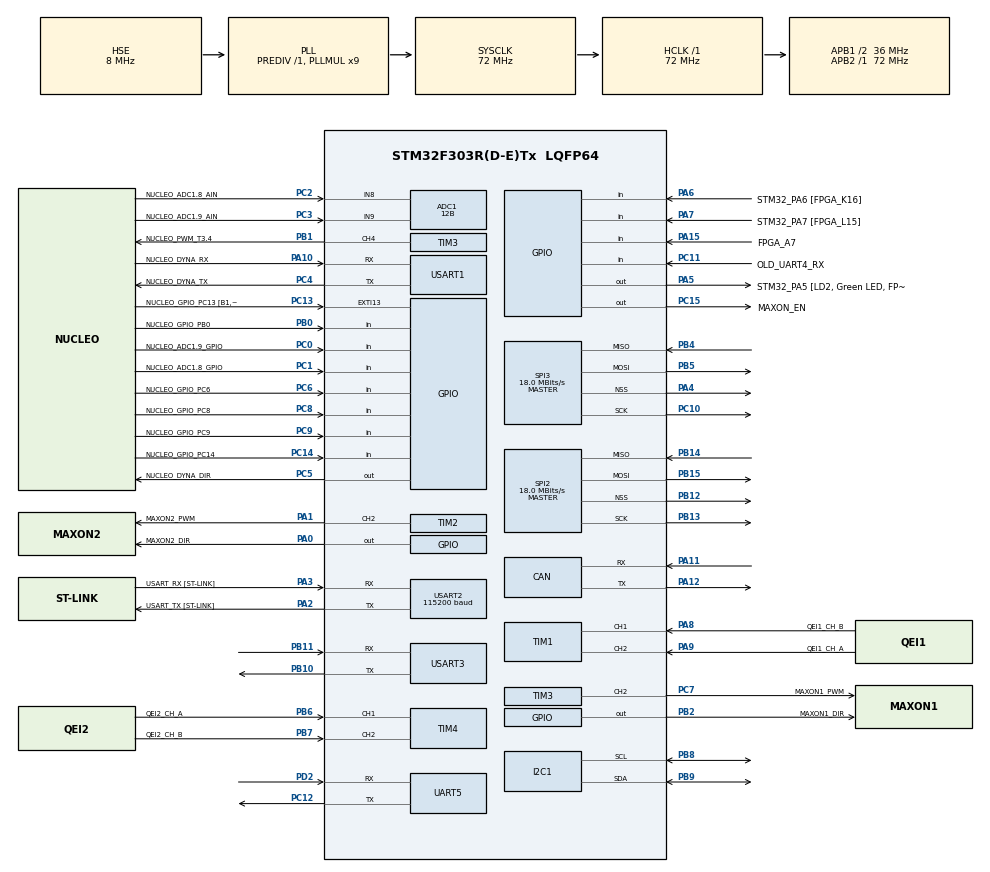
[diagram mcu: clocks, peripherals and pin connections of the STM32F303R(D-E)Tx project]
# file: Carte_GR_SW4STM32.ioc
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ADC1.Channel-0\#ChannelRegularConversion=ADC_CHANNEL_8
ADC1.ClockPrescaler=ADC_CLOCK_ASYNC_DIV1
ADC1.ContinuousConvMode=DISABLE
ADC1.DMAContinuousRequests=DISABLE
ADC1.DataAlign=ADC_DATAALIGN_RIGHT
ADC1.DiscontinuousConvMode=DISABLE
ADC1.EOCSelection=ADC_EOC_SINGLE_CONV
ADC1.EnableAnalogWatchDog1=false
ADC1.EnableAnalogWatchDog2=false
ADC1.EnableAnalogWatchDog3=false
ADC1.EnableInjectedConversion=ENABLE
ADC1.EnableRegularConversion=ENABLE
ADC1.ExternalTrigConv=ADC_SOFTWARE_START
ADC1.ExternalTrigConvEdge=ADC_EXTERNALTRIGCONVEDGE_NONE
ADC1.InjNumberOfConversion=0
ADC1.LowPowerAutoWait=DISABLE
ADC1.NbrOfConversion=1
ADC1.NbrOfConversionFlag=1
ADC1.Offset-0\#ChannelRegularConversion=0
ADC1.OffsetNumber-0\#ChannelRegularConversion=ADC_OFFSET_NONE
ADC1.Overrun=ADC_OVR_DATA_OVERWRITTEN
ADC1.Rank-0\#ChannelRegularConversion=1
ADC1.Resolution=ADC_RESOLUTION_12B
ADC1.SamplingTime-0\#ChannelRegularConversion=ADC_SAMPLETIME_1CYCLE_5
ADC1.ScanConvMode=ADC_SCAN_DISABLE
ADC1.master=1
CAN.BS1=CAN_BS1_1TQ
CAN.BS2=CAN_BS2_1TQ
CAN.CalculateTimeBit=1333
CAN.CalculateTimeQuantum=444.44444444444446
Dma.ADC1.0.Direction=DMA_PERIPH_TO_MEMORY
Dma.ADC1.0.Instance=DMA1_Channel1
Dma.ADC1.0.MemDataAlignment=DMA_MDATAALIGN_HALFWORD
Dma.ADC1.0.MemInc=DMA_MINC_ENABLE
Dma.ADC1.0.Mode=DMA_CIRCULAR
Dma.ADC1.0.PeriphDataAlignment=DMA_PDATAALIGN_HALFWORD
Dma.ADC1.0.PeriphInc=DMA_PINC_DISABLE
Dma.ADC1.0.Priority=DMA_PRIORITY_LOW
Dma.I2C1_RX.6.Direction=DMA_PERIPH_TO_MEMORY
Dma.I2C1_RX.6.Instance=DMA1_Channel7
Dma.I2C1_RX.6.MemDataAlignment=DMA_MDATAALIGN_BYTE
Dma.I2C1_RX.6.MemInc=DMA_MINC_ENABLE
Dma.I2C1_RX.6.Mode=DMA_NORMAL
Dma.I2C1_RX.6.PeriphDataAlignment=DMA_PDATAALIGN_BYTE
Dma.I2C1_RX.6.PeriphInc=DMA_PINC_DISABLE
Dma.I2C1_RX.6.Priority=DMA_PRIORITY_LOW
Dma.I2C1_TX.5.Direction=DMA_MEMORY_TO_PERIPH
Dma.I2C1_TX.5.Instance=DMA1_Channel6
Dma.I2C1_TX.5.MemDataAlignment=DMA_MDATAALIGN_BYTE
Dma.I2C1_TX.5.MemInc=DMA_MINC_ENABLE
Dma.I2C1_TX.5.Mode=DMA_NORMAL
Dma.I2C1_TX.5.PeriphDataAlignment=DMA_PDATAALIGN_BYTE
Dma.I2C1_TX.5.PeriphInc=DMA_PINC_DISABLE
Dma.I2C1_TX.5.Priority=DMA_PRIORITY_LOW
Dma.MEMTOMEM.9.Direction=DMA_MEMORY_TO_MEMORY
Dma.MEMTOMEM.9.Instance=DMA2_Channel3
Dma.MEMTOMEM.9.MemDataAlignment=DMA_MDATAALIGN_BYTE
Dma.MEMTOMEM.9.MemInc=DMA_MINC_ENABLE
Dma.MEMTOMEM.9.Mode=DMA_NORMAL
Dma.MEMTOMEM.9.PeriphDataAlignment=DMA_PDATAALIGN_BYTE
Dma.MEMTOMEM.9.PeriphInc=DMA_PINC_ENABLE
Dma.MEMTOMEM.9.Priority=DMA_PRIORITY_LOW
Dma.Request0=ADC1
Dma.Request1=USART3_TX
Dma.Request2=USART3_RX
Dma.Request3=SPI2_RX
Dma.Request4=SPI2_TX
Dma.Request5=I2C1_TX
Dma.Request6=I2C1_RX
Dma.Request7=SPI3_RX
Dma.Request8=SPI3_TX
Dma.Request9=MEMTOMEM
Dma.SPI2_RX.3.Direction=DMA_PERIPH_TO_MEMORY
Dma.SPI2_RX.3.Instance=DMA1_Channel4
Dma.SPI2_RX.3.MemDataAlignment=DMA_MDATAALIGN_BYTE
Dma.SPI2_RX.3.MemInc=DMA_MINC_ENABLE
Dma.SPI2_RX.3.Mode=DMA_NORMAL
Dma.SPI2_RX.3.PeriphDataAlignment=DMA_PDATAALIGN_BYTE
Dma.SPI2_RX.3.PeriphInc=DMA_PINC_DISABLE
Dma.SPI2_RX.3.Priority=DMA_PRIORITY_LOW
Dma.SPI2_TX.4.Direction=DMA_MEMORY_TO_PERIPH
Dma.SPI2_TX.4.Instance=DMA1_Channel5
Dma.SPI2_TX.4.MemDataAlignment=DMA_MDATAALIGN_BYTE
Dma.SPI2_TX.4.MemInc=DMA_MINC_ENABLE
Dma.SPI2_TX.4.Mode=DMA_NORMAL
Dma.SPI2_TX.4.PeriphDataAlignment=DMA_PDATAALIGN_BYTE
Dma.SPI2_TX.4.PeriphInc=DMA_PINC_DISABLE
Dma.SPI2_TX.4.Priority=DMA_PRIORITY_LOW
Dma.SPI3_RX.7.Direction=DMA_PERIPH_TO_MEMORY
Dma.SPI3_RX.7.Instance=DMA2_Channel1
Dma.SPI3_RX.7.MemDataAlignment=DMA_MDATAALIGN_BYTE
Dma.SPI3_RX.7.MemInc=DMA_MINC_ENABLE
Dma.SPI3_RX.7.Mode=DMA_NORMAL
Dma.SPI3_RX.7.PeriphDataAlignment=DMA_PDATAALIGN_BYTE
Dma.SPI3_RX.7.PeriphInc=DMA_PINC_DISABLE
Dma.SPI3_RX.7.Priority=DMA_PRIORITY_LOW
Dma.SPI3_TX.8.Direction=DMA_MEMORY_TO_PERIPH
Dma.SPI3_TX.8.Instance=DMA2_Channel2
Dma.SPI3_TX.8.MemDataAlignment=DMA_MDATAALIGN_BYTE
Dma.SPI3_TX.8.MemInc=DMA_MINC_ENABLE
Dma.SPI3_TX.8.Mode=DMA_NORMAL
Dma.SPI3_TX.8.PeriphDataAlignment=DMA_PDATAALIGN_BYTE
Dma.SPI3_TX.8.PeriphInc=DMA_PINC_DISABLE
Dma.SPI3_TX.8.Priority=DMA_PRIORITY_LOW
Dma.USART3_RX.2.Direction=DMA_PERIPH_TO_MEMORY
Dma.USART3_RX.2.Instance=DMA1_Channel3
Dma.USART3_RX.2.MemDataAlignment=DMA_MDATAALIGN_BYTE
Dma.USART3_RX.2.MemInc=DMA_MINC_ENABLE
Dma.USART3_RX.2.Mode=DMA_NORMAL
Dma.USART3_RX.2.PeriphDataAlignment=DMA_PDATAALIGN_BYTE
Dma.USART3_RX.2.PeriphInc=DMA_PINC_DISABLE
Dma.USART3_RX.2.Priority=DMA_PRIORITY_LOW
Dma.USART3_TX.1.Direction=DMA_MEMORY_TO_PERIPH
Dma.USART3_TX.1.Instance=DMA1_Channel2
Dma.USART3_TX.1.MemDataAlignment=DMA_MDATAALIGN_BYTE
Dma.USART3_TX.1.MemInc=DMA_MINC_ENABLE
Dma.USART3_TX.1.Mode=DMA_NORMAL
Dma.USART3_TX.1.PeriphDataAlignment=DMA_PDATAALIGN_BYTE
Dma.USART3_TX.1.PeriphInc=DMA_PINC_DISABLE
Dma.USART3_TX.1.Priority=DMA_PRIORITY_LOW
FREERTOS.Tasks01=defaultTask,0,128,StartDefaultTask,Default,NULL
I2C1.Timing=0x10808DD3
Mcu.Family=STM32F3
Mcu.Name=STM32F303R(D-E)Tx
Mcu.Package=LQFP64
NVIC.DMA1_Channel1_IRQn=true\:5\:0\:false\:false\:true\:true\:true
NVIC.DMA1_Channel2_IRQn=true\:5\:0\:false\:false\:true\:true\:true
NVIC.DMA1_Channel3_IRQn=true\:5\:0\:false\:false\:true\:true\:true
NVIC.DMA1_Channel4_IRQn=true\:5\:0\:false\:false\:true\:true\:true
NVIC.DMA1_Channel5_IRQn=true\:5\:0\:false\:false\:true\:true\:true
NVIC.DMA1_Channel6_IRQn=true\:5\:0\:false\:false\:true\:true\:true
NVIC.DMA1_Channel7_IRQn=true\:5\:0\:false\:false\:true\:true\:true
NVIC.DMA2_Channel1_IRQn=true\:5\:0\:false\:false\:true\:true\:true
NVIC.DMA2_Channel2_IRQn=true\:5\:0\:false\:false\:true\:true\:true
NVIC.PriorityGroup=NVIC_PRIORITYGROUP_4
NVIC.TIM6_DAC_IRQn=true\:0\:0\:false\:false\:true\:false\:true
NVIC.TimeBase=TIM6_DAC_IRQn
NVIC.TimeBaseIP=TIM6
PA0.GPIO_Label=MAXON2_DIR
PA0.Signal=GPIO_Output
PA1.GPIO_Label=MAXON2_PWM
PA1.Signal=S_TIM2_CH2
PA10.GPIO_Label=NUCLEO_DYNA_RX
PA10.Mode=Asynchronous
PA10.Signal=USART1_RX
PA11.Mode=Master
PA11.Signal=CAN_RX
PA12.Mode=Master
PA12.Signal=CAN_TX
PA13.GPIO_Label=TMS
PA13.Mode=Trace_Asynchronous_SW
PA13.Signal=SYS_JTMS-SWDIO
PA14.GPIO_Label=TCK
PA14.Mode=Trace_Asynchronous_SW
PA14.Signal=SYS_JTCK-SWCLK
PA15.GPIO_Label=FPGA_A7
PA15.GPIO_PuPd=GPIO_PULLUP
PA15.Signal=GPIO_Input
PA2.GPIO_Label=USART_TX [ST-LINK]
PA2.GPIO_Mode=GPIO_MODE_AF_PP
PA2.GPIO_PuPd=GPIO_NOPULL
PA2.GPIO_Speed=GPIO_SPEED_FREQ_LOW
PA2.Mode=Asynchronous
PA2.Signal=USART2_TX
PA3.GPIO_Label=USART_RX [ST-LINK]
PA3.GPIO_Mode=GPIO_MODE_AF_PP
PA3.GPIO_PuPd=GPIO_NOPULL
PA3.GPIO_Speed=GPIO_SPEED_FREQ_LOW
PA3.Mode=Asynchronous
PA3.Signal=USART2_RX
PA4.Mode=NSS_Signal_Hard_Output
PA4.Signal=SPI3_NSS
PA5.GPIO_Label=STM32_PA5 [LD2, Green LED, FPGA_N11]
PA5.GPIO_Mode=GPIO_MODE_OUTPUT_PP
PA5.GPIO_PuPd=GPIO_NOPULL
PA5.GPIO_Speed=GPIO_SPEED_FREQ_LOW
PA5.Signal=GPIO_Output
PA6.GPIO_Label=STM32_PA6 [FPGA_K16]
PA6.GPIO_PuPd=GPIO_PULLUP
PA6.Signal=GPIO_Input
PA7.GPIO_Label=STM32_PA7 [FPGA_L15]
PA7.GPIO_PuPd=GPIO_PULLUP
PA7.Signal=GPIO_Input
PA8.GPIO_Label=QEI1_CH_B
PA8.Signal=S_TIM1_CH1
PA9.GPIO_Label=QEI1_CH_A
PA9.Signal=S_TIM1_CH2
PB0.GPIO_Label=NUCLEO_GPIO_PB0
PB0.GPIO_PuPd=GPIO_PULLUP
PB0.Signal=GPIO_Input
PB1.GPIO_Label=NUCLEO_PWM_T3.4
PB1.Signal=S_TIM3_CH4
PB10.Mode=Asynchronous
PB10.Signal=USART3_TX
PB11.Mode=Asynchronous
PB11.Signal=USART3_RX
PB12.Mode=NSS_Signal_Hard_Output
PB12.Signal=SPI2_NSS
PB13.Mode=Full_Duplex_Master
PB13.Signal=SPI2_SCK
PB14.Mode=Full_Duplex_Master
PB14.Signal=SPI2_MISO
PB15.Mode=Full_Duplex_Master
PB15.Signal=SPI2_MOSI
PB2.GPIO_Label=MAXON1_DIR
PB2.Signal=GPIO_Output
PB3.GPIO_Label=SWO
PB3.Mode=Trace_Asynchronous_SW
PB3.Signal=SYS_JTDO-TRACESWO
PB4.Mode=Full_Duplex_Master
PB4.Signal=SPI3_MISO
PB5.Mode=Full_Duplex_Master
PB5.Signal=SPI3_MOSI
PB6.GPIO_Label=QEI2_CH_A
PB6.Signal=S_TIM4_CH1
PB7.GPIO_Label=QEI2_CH_B
PB7.Signal=S_TIM4_CH2
PB8.Mode=I2C
PB8.Signal=I2C1_SCL
PB9.Mode=I2C
PB9.Signal=I2C1_SDA
PC0.GPIO_Label=NUCLEO_ADC1.9_GPIO
PC0.GPIO_PuPd=GPIO_PULLUP
PC0.Signal=GPIO_Input
PC1.GPIO_Label=NUCLEO_ADC1.8_GPIO
PC1.GPIO_PuPd=GPIO_PULLUP
PC1.Signal=GPIO_Input
PC10.Mode=Full_Duplex_Master
PC10.Signal=SPI3_SCK
PC11.GPIO_Label=OLD_UART4_RX
PC11.GPIO_PuPd=GPIO_PULLUP
PC11.Signal=GPIO_Input
PC12.Mode=Asynchronous
PC12.Signal=UART5_TX
PC13.GPIO_Label=NUCLEO_GPIO_PC13 [B1, Blue PushButton]
PC13.GPIO_ModeDefaultEXTI=GPIO_MODE_IT_FALLING
PC13.Signal=GPXTI13
PC14-OSC32_IN.GPIO_Label=NUCLEO_GPIO_PC14
PC14-OSC32_IN.GPIO_PuPd=GPIO_PULLUP
PC14-OSC32_IN.Signal=GPIO_Input
PC15-OSC32_OUT.GPIO_Label=MAXON_EN
PC15-OSC32_OUT.Signal=GPIO_Output
PC2.GPIO_Label=NUCLEO_ADC1.8_AIN
PC2.Signal=ADCx_IN8
PC3.GPIO_Label=NUCLEO_ADC1.9_AIN
PC3.Signal=ADCx_IN9
PC4.GPIO_Label=NUCLEO_DYNA_TX
PC4.Mode=Asynchronous
PC4.Signal=USART1_TX
PC5.GPIO_Label=NUCLEO_DYNA_DIR
PC5.Signal=GPIO_Output
PC6.GPIO_Label=NUCLEO_GPIO_PC6
PC6.GPIO_PuPd=GPIO_PULLUP
PC6.Signal=GPIO_Input
PC7.GPIO_Label=MAXON1_PWM
PC7.Signal=S_TIM3_CH2
PC8.GPIO_Label=NUCLEO_GPIO_PC8
PC8.GPIO_PuPd=GPIO_PULLUP
PC8.Signal=GPIO_Input
PC9.GPIO_Label=NUCLEO_GPIO_PC9
PC9.GPIO_PuPd=GPIO_PULLUP
PC9.Signal=GPIO_Input
PD2.Mode=Asynchronous
PD2.Signal=UART5_RX
PF0-OSC_IN.Mode=HSE-External-Clock-Source
PF0-OSC_IN.Signal=RCC_OSC_IN
ProjectManager.HeapSize=0x200
ProjectManager.StackSize=0x400
ProjectManager.TargetToolchain=Makefile
RCC.AHBFreq_Value=72000000
RCC.APB1CLKDivider=RCC_HCLK_DIV2
RCC.APB1Freq_Value=36000000
RCC.APB1TimFreq_Value=72000000
RCC.APB2Freq_Value=72000000
RCC.APB2TimFreq_Value=72000000
RCC.CortexFreq_Value=72000000
RCC.EnbaleCSS=true
RCC.HCLKFreq_Value=72000000
RCC.HSE_VALUE=8000000
RCC.HSI_VALUE=8000000
RCC.I2c1ClockSelection=RCC_I2C1CLKSOURCE_SYSCLK
RCC.LSE_VALUE=32768
RCC.PLLM=8
RCC.PLLMUL=RCC_PLL_MUL9
RCC.PLLN=336
RCC.PLLP=RCC_PLLP_DIV4
RCC.PLLQ=7
RCC.PLLSourceVirtual=RCC_PLLSOURCE_HSE
RCC.RCC_PLLsource_Clock_Source_FROM_HSE=RCC_HSE_PREDIV_DIV2
RCC.SYSCLKFreq_VALUE=72000000
RCC.SYSCLKSourceVirtual=RCC_SYSCLKSOURCE_PLLCLK
RCC.USBFreq_Value=72000000
RCC.Uart5ClockSelection=RCC_UART5CLKSOURCE_SYSCLK
RCC.Usart2ClockSelection=RCC_USART2CLKSOURCE_SYSCLK
RCC.Usart3ClockSelection=RCC_USART3CLKSOURCE_SYSCLK
SH.ADCx_IN8.0=ADC1_IN8,IN8-Single-Ended
SH.ADCx_IN9.0=ADC1_IN9,IN9-Single-Ended
SH.S_TIM1_CH1.0=TIM1_CH1,Encoder_Interface
SH.S_TIM1_CH2.0=TIM1_CH2,Encoder_Interface
SH.S_TIM2_CH2.0=TIM2_CH2,PWM Generation2 CH2
SH.S_TIM3_CH2.0=TIM3_CH2,PWM Generation2 CH2
SH.S_TIM3_CH4.0=TIM3_CH4,PWM Generation4 CH4
SH.S_TIM4_CH1.0=TIM4_CH1,Encoder_Interface
SH.S_TIM4_CH2.0=TIM4_CH2,Encoder_Interface
SPI2.BaudRatePrescaler=SPI_BAUDRATEPRESCALER_2
SPI2.CalculateBaudRate=18.0 MBits/s
SPI2.Direction=SPI_DIRECTION_2LINES
SPI2.Mode=SPI_MODE_MASTER
SPI2.VirtualNSS=VM_NSSHARD
SPI2.VirtualType=VM_MASTER
SPI3.BaudRatePrescaler=SPI_BAUDRATEPRESCALER_2
SPI3.CalculateBaudRate=18.0 MBits/s
SPI3.Direction=SPI_DIRECTION_2LINES
SPI3.Mode=SPI_MODE_MASTER
SPI3.VirtualNSS=VM_NSSHARD
SPI3.VirtualType=VM_MASTER
TIM2.Channel-PWM\ Generation2\ CH2=TIM_CHANNEL_2
TIM3.Channel-PWM\ Generation2\ CH2=TIM_CHANNEL_2
TIM3.Channel-PWM\ Generation4\ CH4=TIM_CHANNEL_4
USART1.VirtualMode-Asynchronous=VM_ASYNC
USART2.BaudRate=115200
USART2.VirtualMode-Asynchronous=VM_ASYNC
USART2.WordLength=WORDLENGTH_8B
USART3.VirtualMode-Asynchronous=VM_ASYNC
VP_FREERTOS_VS_ENABLE.Mode=Enabled
VP_SYS_VS_tim6.Mode=TIM6
VP_TIM2_VS_ClockSourceINT.Mode=Internal
VP_TIM3_VS_ClockSourceINT.Mode=Internal
board=NUCLEO-F303RE

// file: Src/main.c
/**
  ******************************************************************************
  * File Name          : main.c
  * Description        : Main program body
  ******************************************************************************
  * This notice applies to any and all portions of this file
  * that are not between comment pairs USER CODE BEGIN and
  * USER CODE END. Other portions of this file, whether
  * inserted by the user or by software development tools
  * are owned by their respective copyright owners.
  *
  * Copyright (c) 2018 STMicroelectronics International N.V.
  * All rights reserved.
  *
  * Redistribution and use in source and binary forms, with or without
  * modification, are permitted, provided that the following conditions are met:
  *
  * 1. Redistribution of source code must retain the above copyright notice,
  *    this list of conditions and the following disclaimer.
  * 2. Redistributions in binary form must reproduce the above copyright notice,
  *    this list of conditions and the following disclaimer in the documentation
  *    and/or other materials provided with the distribution.
  * 3. Neither the name of STMicroelectronics nor the names of other
  *    contributors to this software may be used to endorse or promote products
  *    derived from this software without specific written permission.
  * 4. This software, including modifications and/or derivative works of this
  *    software, must execute solely and exclusively on microcontroller or
  *    microprocessor devices manufactured by or for STMicroelectronics.
  * 5. Redistribution and use of this software other than as permitted under
  *    this license is void and will automatically terminate your rights under
  *    this license.
  *
  * THIS SOFTWARE IS PROVIDED BY STMICROELECTRONICS AND CONTRIBUTORS "AS IS"
  * AND ANY EXPRESS, IMPLIED OR STATUTORY WARRANTIES, INCLUDING, BUT NOT
  * LIMITED TO, THE IMPLIED WARRANTIES OF MERCHANTABILITY, FITNESS FOR A
  * PARTICULAR PURPOSE AND NON-INFRINGEMENT OF THIRD PARTY INTELLECTUAL PROPERTY
  * RIGHTS ARE DISCLAIMED TO THE FULLEST EXTENT PERMITTED BY LAW. IN NO EVENT
  * SHALL STMICROELECTRONICS OR CONTRIBUTORS BE LIABLE FOR ANY DIRECT, INDIRECT,
  * INCIDENTAL, SPECIAL, EXEMPLARY, OR CONSEQUENTIAL DAMAGES (INCLUDING, BUT NOT
  * LIMITED TO, PROCUREMENT OF SUBSTITUTE GOODS OR SERVICES; LOSS OF USE, DATA,
  * OR PROFITS; OR BUSINESS INTERRUPTION) HOWEVER CAUSED AND ON ANY THEORY OF
  * LIABILITY, WHETHER IN CONTRACT, STRICT LIABILITY, OR TORT (INCLUDING
  * NEGLIGENCE OR OTHERWISE) ARISING IN ANY WAY OUT OF THE USE OF THIS SOFTWARE,
  * EVEN IF ADVISED OF THE POSSIBILITY OF SUCH DAMAGE.
  *
  ******************************************************************************
  */
#include "main.h"
#include "stm32f3xx_hal.h"
#include "cmsis_os.h"

/* USER CODE BEGIN Includes */
#include <string.h>

extern void goldorak_go_main(void const * argument);

/* USER CODE END Includes */

ADC_HandleTypeDef hadc1;
DMA_HandleTypeDef hdma_adc1;

CAN_HandleTypeDef hcan;

I2C_HandleTypeDef hi2c1;
DMA_HandleTypeDef hdma_i2c1_tx;
DMA_HandleTypeDef hdma_i2c1_rx;

SPI_HandleTypeDef hspi2;
SPI_HandleTypeDef hspi3;
DMA_HandleTypeDef hdma_spi2_rx;
DMA_HandleTypeDef hdma_spi2_tx;
DMA_HandleTypeDef hdma_spi3_rx;
DMA_HandleTypeDef hdma_spi3_tx;

TIM_HandleTypeDef htim1;
TIM_HandleTypeDef htim2;
TIM_HandleTypeDef htim3;
TIM_HandleTypeDef htim4;

UART_HandleTypeDef huart5;
UART_HandleTypeDef huart1;
UART_HandleTypeDef huart2;
UART_HandleTypeDef huart3;
DMA_HandleTypeDef hdma_usart3_tx;
DMA_HandleTypeDef hdma_usart3_rx;

DMA_HandleTypeDef hdma_memtomem_dma2_channel3;
osThreadId defaultTaskHandle;

/* USER CODE BEGIN PV */
/* Private variables ---------------------------------------------------------*/
osThreadId GoldorakTESTTaskHandle;
const uint32_t GoldorakTESTTaskParameters[1] = {0};

/* USER CODE END PV */

void SystemClock_Config(void);
static void MX_GPIO_Init(void);
static void MX_DMA_Init(void);
static void MX_USART2_UART_Init(void);
static void MX_TIM1_Init(void);
static void MX_TIM4_Init(void);
static void MX_ADC1_Init(void);
static void MX_I2C1_Init(void);
static void MX_TIM3_Init(void);
static void MX_TIM2_Init(void);
static void MX_USART3_UART_Init(void);
static void MX_SPI2_Init(void);
static void MX_USART1_UART_Init(void);
static void MX_CAN_Init(void);
static void MX_SPI3_Init(void);
static void MX_UART5_Init(void);
void StartDefaultTask(void const * argument);

void HAL_TIM_MspPostInit(TIM_HandleTypeDef *htim);

/* USER CODE BEGIN PFP */
/* Private function prototypes -----------------------------------------------*/

/* USER CODE END PFP */

/* USER CODE BEGIN 0 */

uint8_t my_io_buf[64];

int __io_putchar(int ch) {
  // Code to write character 'ch' on the UART
  my_io_buf[0] = (uint8_t)ch;
  HAL_UART_Transmit(&huart2, my_io_buf, 1, 100000);
  return ch;
}

int __io_getchar(void) {
  // Code to read a character from the UART
  /*while (1)*/ {
    my_io_buf[0] = 0;
    if (HAL_UART_Receive(&huart2, my_io_buf, 1, 10)==HAL_OK) {
      return my_io_buf[0];
    } else {
      return 0;
    }
  }
  return 0;
}

/* USER CODE END 0 */

int main(void)
{

  /* MCU Configuration----------------------------------------------------------*/

  /* Reset of all peripherals, Initializes the Flash interface and the Systick. */
  HAL_Init();

  /* Configure the system clock */
  SystemClock_Config();

  /* Initialize all configured peripherals */
  MX_GPIO_Init();
  MX_DMA_Init();
  MX_USART2_UART_Init();
  MX_TIM1_Init();
  MX_TIM4_Init();
  MX_ADC1_Init();
  MX_I2C1_Init();
  MX_TIM3_Init();
  MX_TIM2_Init();
  MX_USART3_UART_Init();
  MX_SPI2_Init();
  MX_USART1_UART_Init();
  MX_CAN_Init();
  MX_SPI3_Init();
  MX_UART5_Init();

  /* USER CODE BEGIN 2 */

  // Turn off buffers, so I/O occurs immediately
  setvbuf(stdin, NULL, _IONBF, 0);
  setvbuf(stdout, NULL, _IONBF, 0);
  setvbuf(stderr, NULL, _IONBF, 0);

  // Start odometry
  HAL_TIM_Encoder_Start(&htim1,TIM_CHANNEL_ALL);
  HAL_TIM_Encoder_Start(&htim4,TIM_CHANNEL_ALL);

  // Start maxons pwms
  HAL_TIM_PWM_Start(&htim3, TIM_CHANNEL_2); /* maxon1 : right */
  HAL_TIM_PWM_Start(&htim2, TIM_CHANNEL_2); /* maxon2 : left */

  /* USER CODE END 2 */

  /* Create the thread(s) */
  /* definition and creation of defaultTask */
  osThreadDef(defaultTask, StartDefaultTask, osPriorityNormal, 0, 64/*128*/);
  defaultTaskHandle = osThreadCreate(osThread(defaultTask), NULL);

  /* USER CODE BEGIN RTOS_THREADS */
  /* add threads, ... */

  USART2->TDR = ('>' & (uint16_t)0x01FFU);
  {
    char test_buf[64];
    sprintf (test_buf, "\n\n\ntest_rtos_makefile (PWM + odometry)\n");
    HAL_UART_Transmit(&huart2, (uint8_t *) test_buf, strlen(test_buf), 100000);
  }

  osThreadDef(GoldorakTESTTask, goldorak_go_main, osPriorityNormal, 0, 320);
  GoldorakTESTTaskHandle = osThreadCreate(osThread(GoldorakTESTTask), NULL);

  /* USER CODE END RTOS_THREADS */

  /* Start scheduler */
  osKernelStart();

  /* We should never get here as control is now taken by the scheduler */

  /* Infinite loop */
  while (1)
  {

  }

}

/** System Clock Configuration
*/
void SystemClock_Config(void)
{

  RCC_OscInitTypeDef RCC_OscInitStruct;
  RCC_ClkInitTypeDef RCC_ClkInitStruct;
  RCC_PeriphCLKInitTypeDef PeriphClkInit;

    /**Initializes the CPU, AHB and APB busses clocks
    */
  RCC_OscInitStruct.OscillatorType = RCC_OSCILLATORTYPE_HSE;
  RCC_OscInitStruct.HSEState = RCC_HSE_BYPASS;
  RCC_OscInitStruct.HSIState = RCC_HSI_ON;
  RCC_OscInitStruct.PLL.PLLState = RCC_PLL_ON;
  RCC_OscInitStruct.PLL.PLLSource = RCC_PLLSOURCE_HSE;
  RCC_OscInitStruct.PLL.PLLMUL = RCC_PLL_MUL9;
  RCC_OscInitStruct.PLL.PREDIV = RCC_PREDIV_DIV1;
  if (HAL_RCC_OscConfig(&RCC_OscInitStruct) != HAL_OK)
  {
    _Error_Handler(__FILE__, __LINE__);
  }

    /**Initializes the CPU, AHB and APB busses clocks
    */
  RCC_ClkInitStruct.ClockType = RCC_CLOCKTYPE_HCLK|RCC_CLOCKTYPE_SYSCLK
                              |RCC_CLOCKTYPE_PCLK1|RCC_CLOCKTYPE_PCLK2;
  RCC_ClkInitStruct.SYSCLKSource = RCC_SYSCLKSOURCE_PLLCLK;
  RCC_ClkInitStruct.AHBCLKDivider = RCC_SYSCLK_DIV1;
  RCC_ClkInitStruct.APB1CLKDivider = RCC_HCLK_DIV2;
  RCC_ClkInitStruct.APB2CLKDivider = RCC_HCLK_DIV1;

  if (HAL_RCC_ClockConfig(&RCC_ClkInitStruct, FLASH_LATENCY_2) != HAL_OK)
  {
    _Error_Handler(__FILE__, __LINE__);
  }

  PeriphClkInit.PeriphClockSelection = RCC_PERIPHCLK_USART1|RCC_PERIPHCLK_USART2
                              |RCC_PERIPHCLK_USART3|RCC_PERIPHCLK_UART5
                              |RCC_PERIPHCLK_I2C1|RCC_PERIPHCLK_TIM1
                              |RCC_PERIPHCLK_ADC12|RCC_PERIPHCLK_TIM2
                              |RCC_PERIPHCLK_TIM34;
  PeriphClkInit.Usart1ClockSelection = RCC_USART1CLKSOURCE_PCLK2;
  PeriphClkInit.Usart2ClockSelection = RCC_USART2CLKSOURCE_SYSCLK;
  PeriphClkInit.Usart3ClockSelection = RCC_USART3CLKSOURCE_SYSCLK;
  PeriphClkInit.Uart5ClockSelection = RCC_UART5CLKSOURCE_SYSCLK;
  PeriphClkInit.Adc12ClockSelection = RCC_ADC12PLLCLK_DIV1;
  PeriphClkInit.I2c1ClockSelection = RCC_I2C1CLKSOURCE_SYSCLK;
  PeriphClkInit.Tim1ClockSelection = RCC_TIM1CLK_HCLK;
  PeriphClkInit.Tim2ClockSelection = RCC_TIM2CLK_HCLK;
  PeriphClkInit.Tim34ClockSelection = RCC_TIM34CLK_HCLK;
  if (HAL_RCCEx_PeriphCLKConfig(&PeriphClkInit) != HAL_OK)
  {
    _Error_Handler(__FILE__, __LINE__);
  }

    /**Enables the Clock Security System
    */
  HAL_RCC_EnableCSS();

    /**Configure the Systick interrupt time
    */
  HAL_SYSTICK_Config(HAL_RCC_GetHCLKFreq()/1000);

    /**Configure the Systick
    */
  HAL_SYSTICK_CLKSourceConfig(SYSTICK_CLKSOURCE_HCLK);

  /* SysTick_IRQn interrupt configuration */
  HAL_NVIC_SetPriority(SysTick_IRQn, 15, 0);
}

/* ADC1 init function */
static void MX_ADC1_Init(void)
{

  ADC_MultiModeTypeDef multimode;
  ADC_ChannelConfTypeDef sConfig;

    /**Common config
    */
  hadc1.Instance = ADC1;
  hadc1.Init.ClockPrescaler = ADC_CLOCK_ASYNC_DIV1;
  hadc1.Init.Resolution = ADC_RESOLUTION_12B;
  hadc1.Init.ScanConvMode = ADC_SCAN_DISABLE;
  hadc1.Init.ContinuousConvMode = DISABLE;
  hadc1.Init.DiscontinuousConvMode = DISABLE;
  hadc1.Init.ExternalTrigConvEdge = ADC_EXTERNALTRIGCONVEDGE_NONE;
  hadc1.Init.ExternalTrigConv = ADC_SOFTWARE_START;
  hadc1.Init.DataAlign = ADC_DATAALIGN_RIGHT;
  hadc1.Init.NbrOfConversion = 1;
  hadc1.Init.DMAContinuousRequests = DISABLE;
  hadc1.Init.EOCSelection = ADC_EOC_SINGLE_CONV;
  hadc1.Init.LowPowerAutoWait = DISABLE;
  hadc1.Init.Overrun = ADC_OVR_DATA_OVERWRITTEN;
  if (HAL_ADC_Init(&hadc1) != HAL_OK)
  {
    _Error_Handler(__FILE__, __LINE__);
  }

    /**Configure the ADC multi-mode
    */
  multimode.Mode = ADC_MODE_INDEPENDENT;
  if (HAL_ADCEx_MultiModeConfigChannel(&hadc1, &multimode) != HAL_OK)
  {
    _Error_Handler(__FILE__, __LINE__);
  }

    /**Configure Regular Channel
    */
  sConfig.Channel = ADC_CHANNEL_8;
  sConfig.Rank = 1;
  sConfig.SingleDiff = ADC_SINGLE_ENDED;
  sConfig.SamplingTime = ADC_SAMPLETIME_1CYCLE_5;
  sConfig.OffsetNumber = ADC_OFFSET_NONE;
  sConfig.Offset = 0;
  if (HAL_ADC_ConfigChannel(&hadc1, &sConfig) != HAL_OK)
  {
    _Error_Handler(__FILE__, __LINE__);
  }

}

/* CAN init function */
static void MX_CAN_Init(void)
{

  hcan.Instance = CAN;
  hcan.Init.Prescaler = 16;
  hcan.Init.Mode = CAN_MODE_NORMAL;
  hcan.Init.SJW = CAN_SJW_1TQ;
  hcan.Init.BS1 = CAN_BS1_1TQ;
  hcan.Init.BS2 = CAN_BS2_1TQ;
  hcan.Init.TTCM = DISABLE;
  hcan.Init.ABOM = DISABLE;
  hcan.Init.AWUM = DISABLE;
  hcan.Init.NART = DISABLE;
  hcan.Init.RFLM = DISABLE;
  hcan.Init.TXFP = DISABLE;
  if (HAL_CAN_Init(&hcan) != HAL_OK)
  {
    _Error_Handler(__FILE__, __LINE__);
  }

}

/* I2C1 init function */
static void MX_I2C1_Init(void)
{

  hi2c1.Instance = I2C1;
  hi2c1.Init.Timing = 0x10808DD3;
  hi2c1.Init.OwnAddress1 = 0;
  hi2c1.Init.AddressingMode = I2C_ADDRESSINGMODE_7BIT;
  hi2c1.Init.DualAddressMode = I2C_DUALADDRESS_DISABLE;
  hi2c1.Init.OwnAddress2 = 0;
  hi2c1.Init.OwnAddress2Masks = I2C_OA2_NOMASK;
  hi2c1.Init.GeneralCallMode = I2C_GENERALCALL_DISABLE;
  hi2c1.Init.NoStretchMode = I2C_NOSTRETCH_DISABLE;
  if (HAL_I2C_Init(&hi2c1) != HAL_OK)
  {
    _Error_Handler(__FILE__, __LINE__);
  }

    /**Configure Analogue filter
    */
  if (HAL_I2CEx_ConfigAnalogFilter(&hi2c1, I2C_ANALOGFILTER_ENABLE) != HAL_OK)
  {
    _Error_Handler(__FILE__, __LINE__);
  }

    /**Configure Digital filter
    */
  if (HAL_I2CEx_ConfigDigitalFilter(&hi2c1, 0) != HAL_OK)
  {
    _Error_Handler(__FILE__, __LINE__);
  }

}

/* SPI2 init function */
static void MX_SPI2_Init(void)
{

  hspi2.Instance = SPI2;
  hspi2.Init.Mode = SPI_MODE_MASTER;
  hspi2.Init.Direction = SPI_DIRECTION_2LINES;
  hspi2.Init.DataSize = SPI_DATASIZE_4BIT;
  hspi2.Init.CLKPolarity = SPI_POLARITY_LOW;
  hspi2.Init.CLKPhase = SPI_PHASE_1EDGE;
  hspi2.Init.NSS = SPI_NSS_HARD_OUTPUT;
  hspi2.Init.BaudRatePrescaler = SPI_BAUDRATEPRESCALER_2;
  hspi2.Init.FirstBit = SPI_FIRSTBIT_MSB;
  hspi2.Init.TIMode = SPI_TIMODE_DISABLE;
  hspi2.Init.CRCCalculation = SPI_CRCCALCULATION_DISABLE;
  hspi2.Init.CRCPolynomial = 7;
  hspi2.Init.CRCLength = SPI_CRC_LENGTH_DATASIZE;
  hspi2.Init.NSSPMode = SPI_NSS_PULSE_ENABLE;
  if (HAL_SPI_Init(&hspi2) != HAL_OK)
  {
    _Error_Handler(__FILE__, __LINE__);
  }

}

/* SPI3 init function */
static void MX_SPI3_Init(void)
{

  hspi3.Instance = SPI3;
  hspi3.Init.Mode = SPI_MODE_MASTER;
  hspi3.Init.Direction = SPI_DIRECTION_2LINES;
  hspi3.Init.DataSize = SPI_DATASIZE_4BIT;
  hspi3.Init.CLKPolarity = SPI_POLARITY_LOW;
  hspi3.Init.CLKPhase = SPI_PHASE_1EDGE;
  hspi3.Init.NSS = SPI_NSS_HARD_OUTPUT;
  hspi3.Init.BaudRatePrescaler = SPI_BAUDRATEPRESCALER_2;
  hspi3.Init.FirstBit = SPI_FIRSTBIT_MSB;
  hspi3.Init.TIMode = SPI_TIMODE_DISABLE;
  hspi3.Init.CRCCalculation = SPI_CRCCALCULATION_DISABLE;
  hspi3.Init.CRCPolynomial = 7;
  hspi3.Init.CRCLength = SPI_CRC_LENGTH_DATASIZE;
  hspi3.Init.NSSPMode = SPI_NSS_PULSE_ENABLE;
  if (HAL_SPI_Init(&hspi3) != HAL_OK)
  {
    _Error_Handler(__FILE__, __LINE__);
  }

}

/* TIM1 init function */
static void MX_TIM1_Init(void)
{

  TIM_Encoder_InitTypeDef sConfig;
  TIM_MasterConfigTypeDef sMasterConfig;

  htim1.Instance = TIM1;
  htim1.Init.Prescaler = 0;
  htim1.Init.CounterMode = TIM_COUNTERMODE_UP;
  htim1.Init.Period = 0;
  htim1.Init.ClockDivision = TIM_CLOCKDIVISION_DIV1;
  htim1.Init.RepetitionCounter = 0;
  htim1.Init.AutoReloadPreload = TIM_AUTORELOAD_PRELOAD_DISABLE;
#if 0 /* FIXME : DEBUG : GOLDO */
  sConfig.EncoderMode = TIM_ENCODERMODE_TI1;
#else
  sConfig.EncoderMode = TIM_ENCODERMODE_TI12;
#endif
  sConfig.IC1Polarity = TIM_ICPOLARITY_RISING;
  sConfig.IC1Selection = TIM_ICSELECTION_DIRECTTI;
  sConfig.IC1Prescaler = TIM_ICPSC_DIV1;
  sConfig.IC1Filter = 0;
  sConfig.IC2Polarity = TIM_ICPOLARITY_RISING;
  sConfig.IC2Selection = TIM_ICSELECTION_DIRECTTI;
  sConfig.IC2Prescaler = TIM_ICPSC_DIV1;
  sConfig.IC2Filter = 0;
  if (HAL_TIM_Encoder_Init(&htim1, &sConfig) != HAL_OK)
  {
    _Error_Handler(__FILE__, __LINE__);
  }

  sMasterConfig.MasterOutputTrigger = TIM_TRGO_RESET;
  sMasterConfig.MasterOutputTrigger2 = TIM_TRGO2_RESET;
  sMasterConfig.MasterSlaveMode = TIM_MASTERSLAVEMODE_DISABLE;
  if (HAL_TIMEx_MasterConfigSynchronization(&htim1, &sMasterConfig) != HAL_OK)
  {
    _Error_Handler(__FILE__, __LINE__);
  }

}

/* TIM2 init function */
static void MX_TIM2_Init(void)
{

  TIM_ClockConfigTypeDef sClockSourceConfig;
  TIM_MasterConfigTypeDef sMasterConfig;
  TIM_OC_InitTypeDef sConfigOC;

  htim2.Instance = TIM2;
  htim2.Init.Prescaler = 0;
  htim2.Init.CounterMode = TIM_COUNTERMODE_UP;
  htim2.Init.Period = 0xffff;
  htim2.Init.ClockDivision = TIM_CLOCKDIVISION_DIV1;
  htim2.Init.AutoReloadPreload = TIM_AUTORELOAD_PRELOAD_ENABLE;
  if (HAL_TIM_Base_Init(&htim2) != HAL_OK)
  {
    _Error_Handler(__FILE__, __LINE__);
  }

  sClockSourceConfig.ClockSource = TIM_CLOCKSOURCE_INTERNAL;
  if (HAL_TIM_ConfigClockSource(&htim2, &sClockSourceConfig) != HAL_OK)
  {
    _Error_Handler(__FILE__, __LINE__);
  }

  if (HAL_TIM_PWM_Init(&htim2) != HAL_OK)
  {
    _Error_Handler(__FILE__, __LINE__);
  }

  sMasterConfig.MasterOutputTrigger = TIM_TRGO_RESET;
  sMasterConfig.MasterSlaveMode = TIM_MASTERSLAVEMODE_DISABLE;
  if (HAL_TIMEx_MasterConfigSynchronization(&htim2, &sMasterConfig) != HAL_OK)
  {
    _Error_Handler(__FILE__, __LINE__);
  }

  sConfigOC.OCMode = TIM_OCMODE_PWM1;
  sConfigOC.Pulse = 0;
  sConfigOC.OCPolarity = TIM_OCPOLARITY_HIGH;
  sConfigOC.OCFastMode = TIM_OCFAST_DISABLE;
  if (HAL_TIM_PWM_ConfigChannel(&htim2, &sConfigOC, TIM_CHANNEL_2) != HAL_OK)
  {
    _Error_Handler(__FILE__, __LINE__);
  }

  HAL_TIM_MspPostInit(&htim2);

}

/* TIM3 init function */
static void MX_TIM3_Init(void)
{

  TIM_ClockConfigTypeDef sClockSourceConfig;
  TIM_MasterConfigTypeDef sMasterConfig;
  TIM_OC_InitTypeDef sConfigOC;

  htim3.Instance = TIM3;
  htim3.Init.Prescaler = 0;
  htim3.Init.CounterMode = TIM_COUNTERMODE_UP;
  htim3.Init.Period = 0xffff;
  htim3.Init.ClockDivision = TIM_CLOCKDIVISION_DIV1;
  htim3.Init.AutoReloadPreload = TIM_AUTORELOAD_PRELOAD_ENABLE;
  if (HAL_TIM_Base_Init(&htim3) != HAL_OK)
  {
    _Error_Handler(__FILE__, __LINE__);
  }

  sClockSourceConfig.ClockSource = TIM_CLOCKSOURCE_INTERNAL;
  if (HAL_TIM_ConfigClockSource(&htim3, &sClockSourceConfig) != HAL_OK)
  {
    _Error_Handler(__FILE__, __LINE__);
  }

  if (HAL_TIM_PWM_Init(&htim3) != HAL_OK)
  {
    _Error_Handler(__FILE__, __LINE__);
  }

  sMasterConfig.MasterOutputTrigger = TIM_TRGO_RESET;
  sMasterConfig.MasterSlaveMode = TIM_MASTERSLAVEMODE_DISABLE;
  if (HAL_TIMEx_MasterConfigSynchronization(&htim3, &sMasterConfig) != HAL_OK)
  {
    _Error_Handler(__FILE__, __LINE__);
  }

  sConfigOC.OCMode = TIM_OCMODE_PWM1;
  sConfigOC.Pulse = 0;
  sConfigOC.OCPolarity = TIM_OCPOLARITY_HIGH;
  sConfigOC.OCFastMode = TIM_OCFAST_DISABLE;
  if (HAL_TIM_PWM_ConfigChannel(&htim3, &sConfigOC, TIM_CHANNEL_2) != HAL_OK)
  {
    _Error_Handler(__FILE__, __LINE__);
  }

  if (HAL_TIM_PWM_ConfigChannel(&htim3, &sConfigOC, TIM_CHANNEL_4) != HAL_OK)
  {
    _Error_Handler(__FILE__, __LINE__);
  }

  HAL_TIM_MspPostInit(&htim3);

}

/* TIM4 init function */
static void MX_TIM4_Init(void)
{

  TIM_Encoder_InitTypeDef sConfig;
  TIM_MasterConfigTypeDef sMasterConfig;

  htim4.Instance = TIM4;
  htim4.Init.Prescaler = 0;
  htim4.Init.CounterMode = TIM_COUNTERMODE_UP;
  htim4.Init.Period = 0;
  htim4.Init.ClockDivision = TIM_CLOCKDIVISION_DIV1;
  htim4.Init.AutoReloadPreload = TIM_AUTORELOAD_PRELOAD_DISABLE;
#if 0 /* FIXME : DEBUG : GOLDO */
  sConfig.EncoderMode = TIM_ENCODERMODE_TI1;
#else
  sConfig.EncoderMode = TIM_ENCODERMODE_TI12;
#endif
  sConfig.IC1Polarity = TIM_ICPOLARITY_RISING;
  sConfig.IC1Selection = TIM_ICSELECTION_DIRECTTI;
  sConfig.IC1Prescaler = TIM_ICPSC_DIV1;
  sConfig.IC1Filter = 0;
  sConfig.IC2Polarity = TIM_ICPOLARITY_RISING;
  sConfig.IC2Selection = TIM_ICSELECTION_DIRECTTI;
  sConfig.IC2Prescaler = TIM_ICPSC_DIV1;
  sConfig.IC2Filter = 0;
  if (HAL_TIM_Encoder_Init(&htim4, &sConfig) != HAL_OK)
  {
    _Error_Handler(__FILE__, __LINE__);
  }

  sMasterConfig.MasterOutputTrigger = TIM_TRGO_RESET;
  sMasterConfig.MasterSlaveMode = TIM_MASTERSLAVEMODE_DISABLE;
  if (HAL_TIMEx_MasterConfigSynchronization(&htim4, &sMasterConfig) != HAL_OK)
  {
    _Error_Handler(__FILE__, __LINE__);
  }

}

/* UART5 init function */
static void MX_UART5_Init(void)
{

  huart5.Instance = UART5;
  huart5.Init.BaudRate = 115200;
  huart5.Init.WordLength = UART_WORDLENGTH_8B;
  huart5.Init.StopBits = UART_STOPBITS_1;
  huart5.Init.Parity = UART_PARITY_NONE;
  huart5.Init.Mode = UART_MODE_TX_RX;
  huart5.Init.HwFlowCtl = UART_HWCONTROL_NONE;
  huart5.Init.OverSampling = UART_OVERSAMPLING_16;
  huart5.Init.OneBitSampling = UART_ONE_BIT_SAMPLE_DISABLE;
  huart5.AdvancedInit.AdvFeatureInit = UART_ADVFEATURE_NO_INIT;
  if (HAL_UART_Init(&huart5) != HAL_OK)
  {
    _Error_Handler(__FILE__, __LINE__);
  }

}

/* USART1 init function */
static void MX_USART1_UART_Init(void)
{

  huart1.Instance = USART1;
  huart1.Init.BaudRate = 38400;
  huart1.Init.WordLength = UART_WORDLENGTH_7B;
  huart1.Init.StopBits = UART_STOPBITS_1;
  huart1.Init.Parity = UART_PARITY_NONE;
  huart1.Init.Mode = UART_MODE_TX_RX;
  huart1.Init.HwFlowCtl = UART_HWCONTROL_NONE;
  huart1.Init.OverSampling = UART_OVERSAMPLING_16;
  huart1.Init.OneBitSampling = UART_ONE_BIT_SAMPLE_DISABLE;
  huart1.AdvancedInit.AdvFeatureInit = UART_ADVFEATURE_NO_INIT;
  if (HAL_UART_Init(&huart1) != HAL_OK)
  {
    _Error_Handler(__FILE__, __LINE__);
  }

}

/* USART2 init function */
static void MX_USART2_UART_Init(void)
{

  huart2.Instance = USART2;
  huart2.Init.BaudRate = 115200;
  huart2.Init.WordLength = UART_WORDLENGTH_8B;
  huart2.Init.StopBits = UART_STOPBITS_1;
  huart2.Init.Parity = UART_PARITY_NONE;
  huart2.Init.Mode = UART_MODE_TX_RX;
  huart2.Init.HwFlowCtl = UART_HWCONTROL_NONE;
  huart2.Init.OverSampling = UART_OVERSAMPLING_16;
  huart2.Init.OneBitSampling = UART_ONE_BIT_SAMPLE_DISABLE;
  huart2.AdvancedInit.AdvFeatureInit = UART_ADVFEATURE_NO_INIT;
  if (HAL_UART_Init(&huart2) != HAL_OK)
  {
    _Error_Handler(__FILE__, __LINE__);
  }

}

/* USART3 init function */
static void MX_USART3_UART_Init(void)
{

  huart3.Instance = USART3;
  huart3.Init.BaudRate = 38400;
  huart3.Init.WordLength = UART_WORDLENGTH_7B;
  huart3.Init.StopBits = UART_STOPBITS_1;
  huart3.Init.Parity = UART_PARITY_NONE;
  huart3.Init.Mode = UART_MODE_TX_RX;
  huart3.Init.HwFlowCtl = UART_HWCONTROL_NONE;
  huart3.Init.OverSampling = UART_OVERSAMPLING_16;
  huart3.Init.OneBitSampling = UART_ONE_BIT_SAMPLE_DISABLE;
  huart3.AdvancedInit.AdvFeatureInit = UART_ADVFEATURE_NO_INIT;
  if (HAL_UART_Init(&huart3) != HAL_OK)
  {
    _Error_Handler(__FILE__, __LINE__);
  }

}

static void MX_DMA_Init(void)
{
  /* DMA controller clock enable */
  __HAL_RCC_DMA1_CLK_ENABLE();
  __HAL_RCC_DMA2_CLK_ENABLE();

  /* Configure DMA request hdma_memtomem_dma2_channel3 on DMA2_Channel3 */
  hdma_memtomem_dma2_channel3.Instance = DMA2_Channel3;
  hdma_memtomem_dma2_channel3.Init.Direction = DMA_MEMORY_TO_MEMORY;
  hdma_memtomem_dma2_channel3.Init.PeriphInc = DMA_PINC_ENABLE;
  hdma_memtomem_dma2_channel3.Init.MemInc = DMA_MINC_ENABLE;
  hdma_memtomem_dma2_channel3.Init.PeriphDataAlignment = DMA_PDATAALIGN_BYTE;
  hdma_memtomem_dma2_channel3.Init.MemDataAlignment = DMA_MDATAALIGN_BYTE;
  hdma_memtomem_dma2_channel3.Init.Mode = DMA_NORMAL;
  hdma_memtomem_dma2_channel3.Init.Priority = DMA_PRIORITY_LOW;
  if (HAL_DMA_Init(&hdma_memtomem_dma2_channel3) != HAL_OK)
  {
    _Error_Handler(__FILE__, __LINE__);
  }

  /* DMA interrupt init */
  /* DMA1_Channel1_IRQn interrupt configuration */
  HAL_NVIC_SetPriority(DMA1_Channel1_IRQn, 5, 0);
  HAL_NVIC_EnableIRQ(DMA1_Channel1_IRQn);
  /* DMA1_Channel2_IRQn interrupt configuration */
  HAL_NVIC_SetPriority(DMA1_Channel2_IRQn, 5, 0);
  HAL_NVIC_EnableIRQ(DMA1_Channel2_IRQn);
  /* DMA1_Channel3_IRQn interrupt configuration */
  HAL_NVIC_SetPriority(DMA1_Channel3_IRQn, 5, 0);
  HAL_NVIC_EnableIRQ(DMA1_Channel3_IRQn);
  /* DMA1_Channel4_IRQn interrupt configuration */
  HAL_NVIC_SetPriority(DMA1_Channel4_IRQn, 5, 0);
  HAL_NVIC_EnableIRQ(DMA1_Channel4_IRQn);
  /* DMA1_Channel5_IRQn interrupt configuration */
  HAL_NVIC_SetPriority(DMA1_Channel5_IRQn, 5, 0);
  HAL_NVIC_EnableIRQ(DMA1_Channel5_IRQn);
  /* DMA1_Channel6_IRQn interrupt configuration */
  HAL_NVIC_SetPriority(DMA1_Channel6_IRQn, 5, 0);
  HAL_NVIC_EnableIRQ(DMA1_Channel6_IRQn);
  /* DMA1_Channel7_IRQn interrupt configuration */
  HAL_NVIC_SetPriority(DMA1_Channel7_IRQn, 5, 0);
  HAL_NVIC_EnableIRQ(DMA1_Channel7_IRQn);
  /* DMA2_Channel1_IRQn interrupt configuration */
  HAL_NVIC_SetPriority(DMA2_Channel1_IRQn, 5, 0);
  HAL_NVIC_EnableIRQ(DMA2_Channel1_IRQn);
  /* DMA2_Channel2_IRQn interrupt configuration */
  HAL_NVIC_SetPriority(DMA2_Channel2_IRQn, 5, 0);
  HAL_NVIC_EnableIRQ(DMA2_Channel2_IRQn);

}

/** Configure pins as
        * Analog
        * Input
        * Output
        * EVENT_OUT
        * EXTI
*/
static void MX_GPIO_Init(void)
{

  GPIO_InitTypeDef GPIO_InitStruct;

  /* GPIO Ports Clock Enable */
  __HAL_RCC_GPIOC_CLK_ENABLE();
  __HAL_RCC_GPIOF_CLK_ENABLE();
  __HAL_RCC_GPIOA_CLK_ENABLE();
  __HAL_RCC_GPIOB_CLK_ENABLE();
  __HAL_RCC_GPIOD_CLK_ENABLE();

  /*Configure GPIO pin Output Level */
  HAL_GPIO_WritePin(GPIOC, MAXON_EN_Pin|NUCLEO_DYNA_DIR_Pin, GPIO_PIN_RESET);

  /*Configure GPIO pin Output Level */
  HAL_GPIO_WritePin(GPIOA, MAXON2_DIR_Pin|STM32_PA5_Pin, GPIO_PIN_RESET);

  /*Configure GPIO pin Output Level */
  HAL_GPIO_WritePin(MAXON1_DIR_GPIO_Port, MAXON1_DIR_Pin, GPIO_PIN_RESET);

  /*Configure GPIO pin : NUCLEO_GPIO_PC13_Pin */
  GPIO_InitStruct.Pin = NUCLEO_GPIO_PC13_Pin;
  GPIO_InitStruct.Mode = GPIO_MODE_IT_FALLING;
  GPIO_InitStruct.Pull = GPIO_NOPULL;
  HAL_GPIO_Init(NUCLEO_GPIO_PC13_GPIO_Port, &GPIO_InitStruct);

  /*Configure GPIO pins : NUCLEO_GPIO_PC14_Pin NUCLEO_ADC1_9_GPIO_Pin NUCLEO_ADC1_8_GPIO_Pin NUCLEO_GPIO_PC6_Pin
                           NUCLEO_GPIO_PC8_Pin NUCLEO_GPIO_PC9_Pin OLD_UART4_RX_Pin */
  GPIO_InitStruct.Pin = NUCLEO_GPIO_PC14_Pin|NUCLEO_ADC1_9_GPIO_Pin|NUCLEO_ADC1_8_GPIO_Pin|NUCLEO_GPIO_PC6_Pin
                          |NUCLEO_GPIO_PC8_Pin|NUCLEO_GPIO_PC9_Pin|OLD_UART4_RX_Pin;
  GPIO_InitStruct.Mode = GPIO_MODE_INPUT;
  GPIO_InitStruct.Pull = GPIO_PULLUP;
  HAL_GPIO_Init(GPIOC, &GPIO_InitStruct);

  /*Configure GPIO pins : MAXON_EN_Pin NUCLEO_DYNA_DIR_Pin */
  GPIO_InitStruct.Pin = MAXON_EN_Pin|NUCLEO_DYNA_DIR_Pin;
  GPIO_InitStruct.Mode = GPIO_MODE_OUTPUT_PP;
  GPIO_InitStruct.Pull = GPIO_NOPULL;
  GPIO_InitStruct.Speed = GPIO_SPEED_FREQ_LOW;
  HAL_GPIO_Init(GPIOC, &GPIO_InitStruct);

  /*Configure GPIO pins : MAXON2_DIR_Pin STM32_PA5_Pin */
  GPIO_InitStruct.Pin = MAXON2_DIR_Pin|STM32_PA5_Pin;
  GPIO_InitStruct.Mode = GPIO_MODE_OUTPUT_PP;
  GPIO_InitStruct.Pull = GPIO_NOPULL;
  GPIO_InitStruct.Speed = GPIO_SPEED_FREQ_LOW;
  HAL_GPIO_Init(GPIOA, &GPIO_InitStruct);

  /*Configure GPIO pins : STM32_PA6_Pin STM32_PA7_Pin FPGA_A7_Pin */
  GPIO_InitStruct.Pin = STM32_PA6_Pin|STM32_PA7_Pin|FPGA_A7_Pin;
  GPIO_InitStruct.Mode = GPIO_MODE_INPUT;
  GPIO_InitStruct.Pull = GPIO_PULLUP;
  HAL_GPIO_Init(GPIOA, &GPIO_InitStruct);

  /*Configure GPIO pin : NUCLEO_GPIO_PB0_Pin */
  GPIO_InitStruct.Pin = NUCLEO_GPIO_PB0_Pin;
  GPIO_InitStruct.Mode = GPIO_MODE_INPUT;
  GPIO_InitStruct.Pull = GPIO_PULLUP;
  HAL_GPIO_Init(NUCLEO_GPIO_PB0_GPIO_Port, &GPIO_InitStruct);

  /*Configure GPIO pin : MAXON1_DIR_Pin */
  GPIO_InitStruct.Pin = MAXON1_DIR_Pin;
  GPIO_InitStruct.Mode = GPIO_MODE_OUTPUT_PP;
  GPIO_InitStruct.Pull = GPIO_NOPULL;
  GPIO_InitStruct.Speed = GPIO_SPEED_FREQ_LOW;
  HAL_GPIO_Init(MAXON1_DIR_GPIO_Port, &GPIO_InitStruct);

}

/* StartDefaultTask function */
void StartDefaultTask(void const * argument)
{

  /* USER CODE BEGIN 5 */
  // Decodage des arguments de tache
  /* FIXME : TODO */

#if 0 /* FIXME : TODO */
  {
    sprintf ((char *)test_buf_g, "StartDefaultTask()\n");
    HAL_UART_Transmit(&huart2, test_buf_g, strlen((const char *)test_buf_g), 100000);
  }
#endif

  // Boucle infinie
  for(;;) {
#if 0 /* FIXME : TODO */
    if (HAL_UART_Receive(&huart2, test_buf_g, 1, 10)==HAL_OK) {
      HAL_UART_Transmit(&huart2, test_buf_g, 1, 100000);
      if (test_buf_g[0]==0x0d) {
        test_buf_g[0]=0x0a;
        HAL_UART_Transmit(&huart2, test_buf_g, 1, 100000);
      }
    }
#endif
    osDelay(1);                      // Delai de 1 ms
  }

  /* USER CODE END 5 */
}

void HAL_TIM_PeriodElapsedCallback(TIM_HandleTypeDef *htim)
{
  if (htim->Instance == TIM6) {
    HAL_IncTick();
  }
}

void _Error_Handler(char * file, int line)
{
  while(1)
  {
  }
}

/************************ (C) COPYRIGHT STMicroelectronics *****END OF FILE****/
